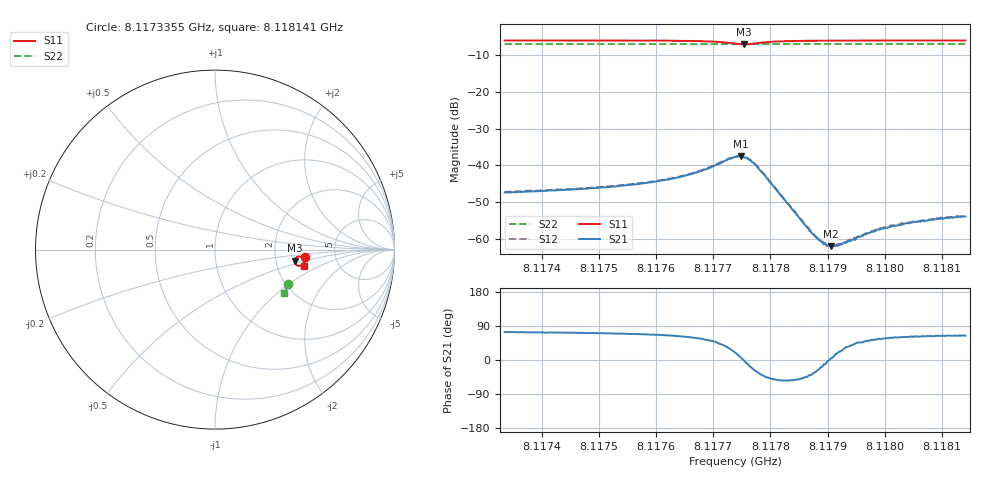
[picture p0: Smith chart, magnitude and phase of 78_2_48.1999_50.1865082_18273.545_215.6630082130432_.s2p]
#  HZ  S  RI  R  50.00
! Rohde & Schwarz Vector Network Analyzer
! Rohde-Schwarz,ZNB20-2Port,1311601062101988,3.16
! Created: UTC 3/20/2024, 11:39:34 AM
! freq[Hz]  re:S11  im:S11  re:S21  im:S21  re:S12  im:S12  re:S22  im:S22
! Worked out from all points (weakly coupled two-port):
!   401 points, 8.1173355 GHz to 8.118141 GHz, reference 50 ohm
!   highest |S21| = -37.57 dB at 8.1177483 GHz (marker M1); lowest = -62.1 dB at 8.1179054 GHz (marker M2)
!   lowest |S11| = -7.0 dB at 8.1177544 GHz (marker M3), VSWR 2.62, Z = 128 - j19.6 ohm
!   |S11| at or under -10 dB: nowhere
!   |S22| runs from -6.9 to -6.9 dB; largest |S21 - S12| = 0.00044
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8.11733548e9  0.5037 -0.0437  0.00119 0.00409  0.00126 0.00414  0.4089 -0.1915
8.11747041e9  0.5018 -0.0559  0.0015 0.00452  0.0016 0.00457  0.4053 -0.2002
8.11754895e9  0.4998 -0.0642  0.00192 0.00501  0.00199 0.00509  0.4029 -0.2052
8.11760534e9  0.4973 -0.0714  0.00245 0.00557  0.00257 0.00567  0.4011 -0.209
8.11766777e9  0.49 -0.0824  0.00409 0.0067  0.00422 0.0068  0.3988 -0.2131
8.11773826e9  0.4505 -0.0825  0.0123 0.00434  0.0124 0.00438  0.3949 -0.2167
8.11774833e9  0.4442 -0.0705  0.0131 0.00158  0.0134 0.00139  0.3948 -0.217
8.11775437e9  0.4434 -0.0615  0.0128 -0.000443  0.0131 -0.000682  0.3945 -0.2167
8.11776645e9  0.4511 -0.0459  0.0108 -0.00387  0.0109 -0.00386  0.3947 -0.2168
8.11777652e9  0.4619 -0.0392  0.00819 -0.00509  0.00836 -0.00522  0.395 -0.2174
8.11781277e9  0.4882 -0.0449  0.00266 -0.0035  0.00269 -0.0036  0.3951 -0.2198
8.11787319e9  0.4975 -0.061  0.000926 -0.000706  0.000949 -0.000723  0.3933 -0.2244
8.11788527e9  0.4979 -0.0634  0.000858 -0.000389  0.000886 -0.000419  0.3929 -0.2253
8.11789534e9  0.4981 -0.065  0.000849 -0.000183  0.000835 -0.00017  0.3927 -0.2259
8.11790541e9  0.4983 -0.0667  0.000787 4.44e-05  0.00079 3.82e-05  0.3924 -0.2267
8.11792152e9  0.4986 -0.0692  0.000764 0.000307  0.000768 0.00033  0.3918 -0.2276
8.11796784e9  0.4987 -0.0751  0.000727 0.000882  0.000748 0.000897  0.3902 -0.2305
8.11798999e9  0.4983 -0.0776  0.000744 0.0011  0.000783 0.00109  0.3895 -0.2322
8.11800812e9  0.4983 -0.0795  0.000763 0.00121  0.000768 0.00124  0.389 -0.2333
8.11805041e9  0.4977 -0.0838  0.000817 0.00148  0.000801 0.0015  0.3874 -0.2359
8.11809472e9  0.4973 -0.088  0.00082 0.00167  0.00089 0.00169  0.386 -0.2386
8.11814104e9  0.4965 -0.0921  0.00087 0.0018  0.000908 0.00184  0.3844 -0.2414
